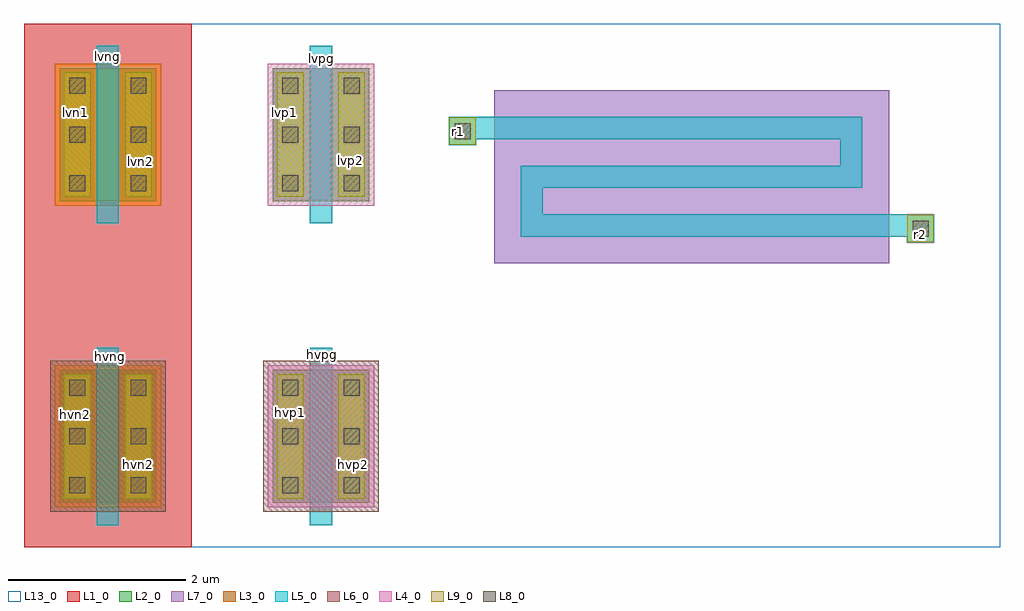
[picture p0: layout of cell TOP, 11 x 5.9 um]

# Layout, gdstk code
import gdstk
lib = gdstk.Library(unit=1e-6, precision=1e-09)
def R(c, l, rs):  # rectangles x0, y0, x1, y1
    for r in rs: c.add(gdstk.rectangle(r[:2], r[2:], *l))
def A(c, l, x, y, w, h, nx, ny, dx, dy):  # array of equal rectangles
    R(c, l, [(x+i*dx, y+j*dy, x+i*dx+w, y+j*dy+h) for i in range(nx) for j in range(ny)])
L1_0 = (1, 0)
L2_0 = (2, 0)
L3_0 = (3, 0)
L4_0 = (4, 0)
L5_0 = (5, 0)
L6_0 = (6, 0)
L7_0 = (7, 0)
L8_0 = (8, 0)
L9_0 = (9, 0)
L13_0 = (13, 0)

top = lib.new_cell('TOP')
R(top, L1_0, [(0,0,1.89,2.5), (0,2.5,1.89,3.4), (0,3.4,1.89,5.9)])
R(top, L2_0, [(0.4,0.5,1.49,2), (0.4,0.5,1.49,2), (2.8,0.5,3.89,2), (0.4,3.9,1.49,5.4), (0.4,3.9,1.49,5.4), (2.8,3.9,3.89,5.4)])
R(top, L3_0, [(0.345,0.45,1.545,2.05), (0.345,0.45,1.545,2.05), (0.345,3.85,1.545,5.45), (0.345,3.85,1.545,5.45)])
R(top, L4_0, [(2.745,0.45,3.945,2.05), (2.745,3.85,3.945,5.45)])
R(top, L5_0, [(0.82,0.25,1.07,2.25), (0.82,0.25,1.07,2.25), (3.22,0.25,3.47,2.25), (9.945,3.43,10.255,3.75), (0.82,3.65,1.07,5.65), (0.82,3.65,1.07,5.65), (3.22,3.65,3.47,5.65), (4.785,4.53,5.095,4.85)])
R(top, L6_0, [(0.295,0.4,1.595,2.1), (2.695,0.4,3.995,2.1)])
R(top, L7_0, [(5.295,3.2,9.745,5.15)])
A(top, L8_0, 2.91, 0.61, 0.18, 0.18, 1, 3, 0, 0.55)
A(top, L8_0, 3.6, 0.61, 0.18, 0.18, 1, 3, 0, 0.55)
A(top, L8_0, 2.91, 4.01, 0.18, 0.18, 1, 3, 0, 0.55)
A(top, L8_0, 3.6, 4.01, 0.18, 0.18, 1, 3, 0, 0.55)
R(top, L8_0, [(0.51,0.61,0.69,0.79), (0.51,0.61,0.69,0.79), (1.2,0.61,1.38,0.79), (1.2,0.61,1.38,0.79), (0.51,1.16,0.69,1.34), (0.51,1.16,0.69,1.34), (1.2,1.16,1.38,1.34), (1.2,1.16,1.38,1.34), (0.51,1.71,0.69,1.89), (0.51,1.71,0.69,1.89), (1.2,1.71,1.38,1.89), (1.2,1.71,1.38,1.89), (10.01,3.5,10.19,3.68), (0.51,4.01,0.69,4.19), (0.51,4.01,0.69,4.19), (1.2,4.01,1.38,4.19), (1.2,4.01,1.38,4.19), (0.51,4.56,0.69,4.74), (0.51,4.56,0.69,4.74), (1.2,4.56,1.38,4.74), (1.2,4.56,1.38,4.74), (4.85,4.6,5.03,4.78), (0.51,5.11,0.69,5.29), (0.51,5.11,0.69,5.29), (1.2,5.11,1.38,5.29), (1.2,5.11,1.38,5.29)])
R(top, L9_0, [(0.45,0.55,0.75,1.95), (1.14,0.55,1.44,1.95), (2.85,0.55,3.15,1.95), (3.54,0.55,3.84,1.95), (9.95,3.435,10.25,3.745), (0.45,3.95,0.75,5.35), (1.14,3.95,1.44,5.35), (2.85,3.95,3.15,5.35), (3.54,3.95,3.84,5.35), (4.79,4.535,5.09,4.845)])
R(top, L13_0, [(0,0,10.995,5.9)])
top.add(gdstk.FlexPath([(5.095,4.725),(9.32,4.725),(9.32,4.175),(5.72,4.175),(5.72,3.625),(9.945,3.625)], 0.25, ends="flush", simple_path=True, layer=5, datatype=0))  # L5_0
top.add(gdstk.Label('lvpg', (3.35,5.509), layer=5, texttype=0))
top.add(gdstk.Label('hvpg', (3.36,2.169), layer=5, texttype=0))
top.add(gdstk.Label('hvng', (0.969,2.149), layer=5, texttype=0))
top.add(gdstk.Label('lvng', (0.938,5.529), layer=5, texttype=0))
top.add(gdstk.Label('r1', (4.89,4.687), layer=9, texttype=0))
top.add(gdstk.Label('r2', (10.1,3.521), layer=9, texttype=0))
top.add(gdstk.Label('lvn1', (0.575,4.894), layer=9, texttype=0))
top.add(gdstk.Label('lvn2', (1.312,4.349), layer=9, texttype=0))
top.add(gdstk.Label('hvn2', (0.575,1.493), layer=9, texttype=0))
top.add(gdstk.Label('hvn2', (1.292,0.938), layer=9, texttype=0))
top.add(gdstk.Label('hvp2', (3.713,0.938), layer=9, texttype=0))
top.add(gdstk.Label('hvp1', (3.007,1.524), layer=9, texttype=0))
top.add(gdstk.Label('lvp1', (2.936,4.904), layer=9, texttype=0))
top.add(gdstk.Label('lvp2', (3.683,4.359), layer=9, texttype=0))

lib.write_gds('TOP.gds')
